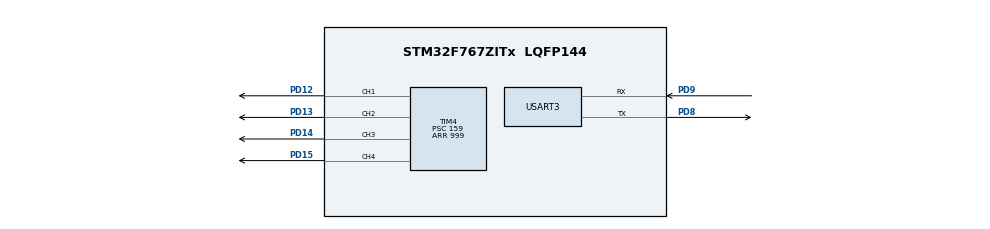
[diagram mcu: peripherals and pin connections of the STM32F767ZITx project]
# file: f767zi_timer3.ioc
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CORTEX_M7.default_mode_Activation=1
Mcu.Family=STM32F7
Mcu.Name=STM32F767ZITx
Mcu.Package=LQFP144
NVIC.PriorityGroup=NVIC_PRIORITYGROUP_4
PA13.Mode=Serial_Wire
PA13.Signal=SYS_JTMS-SWDIO
PA14.Mode=Serial_Wire
PA14.Signal=SYS_JTCK-SWCLK
PD12.Signal=S_TIM4_CH1
PD13.Signal=S_TIM4_CH2
PD14.Signal=S_TIM4_CH3
PD15.Signal=S_TIM4_CH4
PD8.Mode=Asynchronous
PD8.Signal=USART3_TX
PD9.Mode=Asynchronous
PD9.Signal=USART3_RX
PH0/OSC_IN.Mode=HSE-External-Oscillator
PH0/OSC_IN.Signal=RCC_OSC_IN
PH1/OSC_OUT.Mode=HSE-External-Oscillator
PH1/OSC_OUT.Signal=RCC_OSC_OUT
ProjectManager.HeapSize=0x200
ProjectManager.StackSize=0x400
ProjectManager.TargetToolchain=STM32CubeIDE
RCC.HSE_VALUE=25000000
RCC.HSI_VALUE=16000000
RCC.LSE_VALUE=32768
RCC.USBFreq_Value=96000000
RCC.VCOOutputFreq_Value=192000000
SH.S_TIM4_CH1.0=TIM4_CH1,PWM Generation1 CH1
SH.S_TIM4_CH2.0=TIM4_CH2,PWM Generation2 CH2
SH.S_TIM4_CH3.0=TIM4_CH3,PWM Generation3 CH3
SH.S_TIM4_CH4.0=TIM4_CH4,PWM Generation4 CH4
TIM4.Channel-PWM\ Generation1\ CH1=TIM_CHANNEL_1
TIM4.Channel-PWM\ Generation2\ CH2=TIM_CHANNEL_2
TIM4.Channel-PWM\ Generation3\ CH3=TIM_CHANNEL_3
TIM4.Channel-PWM\ Generation4\ CH4=TIM_CHANNEL_4
TIM4.Period=999
TIM4.Prescaler=159
USART3.VirtualMode-Asynchronous=VM_ASYNC
VP_TIM4_VS_ClockSourceINT.Mode=Internal
board=custom

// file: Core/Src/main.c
/* USER CODE BEGIN Header */
/**
  ******************************************************************************
  * @file           : main.c
  * @brief          : Main program body
  ******************************************************************************
  * @attention
  *
  * Copyright (c) 2025 STMicroelectronics.
  * All rights reserved.
  *
  * This software is licensed under terms that can be found in the LICENSE file
  * in the root directory of this software component.
  * If no LICENSE file comes with this software, it is provided AS-IS.
  *
  ******************************************************************************
  */
/* USER CODE END Header */
#include "main.h"

/* USER CODE BEGIN Includes */
#include <stdio.h>
#include <stdbool.h>
/* USER CODE END Includes */

TIM_HandleTypeDef htim4;

UART_HandleTypeDef huart3;

void SystemClock_Config(void);
static void MPU_Config(void);
static void MX_GPIO_Init(void);
static void MX_USART3_UART_Init(void);
static void MX_TIM4_Init(void);

/* USER CODE BEGIN 0 */

/* redirect printf to uart3
 fd == file descriptor. 1 = stdout, 2 stderr
 ptr == pointer to the data being sent
 len == length of the data (in bytes)
*/
int _write(int fd, char* ptr, int len) {
 HAL_StatusTypeDef hstatus;

 if (fd == 1 || fd == 2) {
   hstatus = HAL_UART_Transmit(&huart3, (uint8_t *) ptr, len, HAL_MAX_DELAY);
   if (hstatus == HAL_OK)
     return len;
   else
     return -1;
 }
 return -1;
}

/* USER CODE END 0 */

int main(void)
{

  /* MPU Configuration--------------------------------------------------------*/
  MPU_Config();

  /* MCU Configuration--------------------------------------------------------*/

  /* Reset of all peripherals, Initializes the Flash interface and the Systick. */
  HAL_Init();

  /* Configure the system clock */
  SystemClock_Config();

  /* Initialize all configured peripherals */
  MX_GPIO_Init();
  MX_USART3_UART_Init();
  MX_TIM4_Init();
  /* USER CODE BEGIN 2 */
  HAL_TIM_PWM_Start(&htim4, TIM_CHANNEL_1);
  HAL_TIM_PWM_Start(&htim4, TIM_CHANNEL_2);
  HAL_TIM_PWM_Start(&htim4, TIM_CHANNEL_3);
  HAL_TIM_PWM_Start(&htim4, TIM_CHANNEL_4);
  printf("Starting timer 2 code...\r\n");
  /* USER CODE END 2 */

  /* Infinite loop */
  /* USER CODE BEGIN WHILE */
  uint16_t pwm_value = 0;
  int8_t pwm_change = 1;
  uint32_t now = 0,next_tick=1000,loop_count=0,next_change=0;
  while (1)
  {
	  now = uwTick;
	  if (now >= next_tick){
		  printf("Tick %lu (loop = %lu)\r\n",now/1000,loop_count);
		  loop_count=0;
		  next_tick = now+1000;
	  }
	  ++loop_count;

	  if (now>= next_change){
		  __HAL_TIM_SET_COMPARE(&htim4,TIM_CHANNEL_1,pwm_value);
		  __HAL_TIM_SET_COMPARE(&htim4,TIM_CHANNEL_2,1000-pwm_value);
		  __HAL_TIM_SET_COMPARE(&htim4,TIM_CHANNEL_3,pwm_value);
		  __HAL_TIM_SET_COMPARE(&htim4,TIM_CHANNEL_4,1000-pwm_value);
		  pwm_value += pwm_change;
		  if (pwm_value==0) pwm_change =1;
		  if (pwm_value==1000) pwm_change =-1;
		  next_change=now+1;
	  }
  }
    /* USER CODE END WHILE */

}

void SystemClock_Config(void)
{
  RCC_OscInitTypeDef RCC_OscInitStruct = {0};
  RCC_ClkInitTypeDef RCC_ClkInitStruct = {0};

  /** Configure the main internal regulator output voltage
  */
  __HAL_RCC_PWR_CLK_ENABLE();
  __HAL_PWR_VOLTAGESCALING_CONFIG(PWR_REGULATOR_VOLTAGE_SCALE3);

  /** Initializes the RCC Oscillators according to the specified parameters
  * in the RCC_OscInitTypeDef structure.
  */
  RCC_OscInitStruct.OscillatorType = RCC_OSCILLATORTYPE_HSI;
  RCC_OscInitStruct.HSIState = RCC_HSI_ON;
  RCC_OscInitStruct.HSICalibrationValue = RCC_HSICALIBRATION_DEFAULT;
  RCC_OscInitStruct.PLL.PLLState = RCC_PLL_NONE;
  if (HAL_RCC_OscConfig(&RCC_OscInitStruct) != HAL_OK)
  {
    Error_Handler();
  }

  /** Initializes the CPU, AHB and APB buses clocks
  */
  RCC_ClkInitStruct.ClockType = RCC_CLOCKTYPE_HCLK|RCC_CLOCKTYPE_SYSCLK
                              |RCC_CLOCKTYPE_PCLK1|RCC_CLOCKTYPE_PCLK2;
  RCC_ClkInitStruct.SYSCLKSource = RCC_SYSCLKSOURCE_HSI;
  RCC_ClkInitStruct.AHBCLKDivider = RCC_SYSCLK_DIV1;
  RCC_ClkInitStruct.APB1CLKDivider = RCC_HCLK_DIV1;
  RCC_ClkInitStruct.APB2CLKDivider = RCC_HCLK_DIV1;

  if (HAL_RCC_ClockConfig(&RCC_ClkInitStruct, FLASH_LATENCY_0) != HAL_OK)
  {
    Error_Handler();
  }
}

static void MX_TIM4_Init(void)
{

  TIM_ClockConfigTypeDef sClockSourceConfig = {0};
  TIM_MasterConfigTypeDef sMasterConfig = {0};
  TIM_OC_InitTypeDef sConfigOC = {0};

  htim4.Instance = TIM4;
  htim4.Init.Prescaler = 159;
  htim4.Init.CounterMode = TIM_COUNTERMODE_UP;
  htim4.Init.Period = 999;
  htim4.Init.ClockDivision = TIM_CLOCKDIVISION_DIV1;
  htim4.Init.AutoReloadPreload = TIM_AUTORELOAD_PRELOAD_DISABLE;
  if (HAL_TIM_Base_Init(&htim4) != HAL_OK)
  {
    Error_Handler();
  }
  sClockSourceConfig.ClockSource = TIM_CLOCKSOURCE_INTERNAL;
  if (HAL_TIM_ConfigClockSource(&htim4, &sClockSourceConfig) != HAL_OK)
  {
    Error_Handler();
  }
  if (HAL_TIM_PWM_Init(&htim4) != HAL_OK)
  {
    Error_Handler();
  }
  sMasterConfig.MasterOutputTrigger = TIM_TRGO_RESET;
  sMasterConfig.MasterSlaveMode = TIM_MASTERSLAVEMODE_DISABLE;
  if (HAL_TIMEx_MasterConfigSynchronization(&htim4, &sMasterConfig) != HAL_OK)
  {
    Error_Handler();
  }
  sConfigOC.OCMode = TIM_OCMODE_PWM1;
  sConfigOC.Pulse = 0;
  sConfigOC.OCPolarity = TIM_OCPOLARITY_HIGH;
  sConfigOC.OCFastMode = TIM_OCFAST_DISABLE;
  if (HAL_TIM_PWM_ConfigChannel(&htim4, &sConfigOC, TIM_CHANNEL_1) != HAL_OK)
  {
    Error_Handler();
  }
  if (HAL_TIM_PWM_ConfigChannel(&htim4, &sConfigOC, TIM_CHANNEL_2) != HAL_OK)
  {
    Error_Handler();
  }
  if (HAL_TIM_PWM_ConfigChannel(&htim4, &sConfigOC, TIM_CHANNEL_3) != HAL_OK)
  {
    Error_Handler();
  }
  if (HAL_TIM_PWM_ConfigChannel(&htim4, &sConfigOC, TIM_CHANNEL_4) != HAL_OK)
  {
    Error_Handler();
  }
  HAL_TIM_MspPostInit(&htim4);

}

static void MX_USART3_UART_Init(void)
{

  huart3.Instance = USART3;
  huart3.Init.BaudRate = 115200;
  huart3.Init.WordLength = UART_WORDLENGTH_8B;
  huart3.Init.StopBits = UART_STOPBITS_1;
  huart3.Init.Parity = UART_PARITY_NONE;
  huart3.Init.Mode = UART_MODE_TX_RX;
  huart3.Init.HwFlowCtl = UART_HWCONTROL_NONE;
  huart3.Init.OverSampling = UART_OVERSAMPLING_16;
  huart3.Init.OneBitSampling = UART_ONE_BIT_SAMPLE_DISABLE;
  huart3.AdvancedInit.AdvFeatureInit = UART_ADVFEATURE_NO_INIT;
  if (HAL_UART_Init(&huart3) != HAL_OK)
  {
    Error_Handler();
  }

}

static void MX_GPIO_Init(void)
{

  /* GPIO Ports Clock Enable */
  __HAL_RCC_GPIOH_CLK_ENABLE();
  __HAL_RCC_GPIOD_CLK_ENABLE();
  __HAL_RCC_GPIOA_CLK_ENABLE();

}

 /* MPU Configuration */

void MPU_Config(void)
{
  MPU_Region_InitTypeDef MPU_InitStruct = {0};

  /* Disables the MPU */
  HAL_MPU_Disable();

  /** Initializes and configures the Region and the memory to be protected
  */
  MPU_InitStruct.Enable = MPU_REGION_ENABLE;
  MPU_InitStruct.Number = MPU_REGION_NUMBER0;
  MPU_InitStruct.BaseAddress = 0x0;
  MPU_InitStruct.Size = MPU_REGION_SIZE_4GB;
  MPU_InitStruct.SubRegionDisable = 0x87;
  MPU_InitStruct.TypeExtField = MPU_TEX_LEVEL0;
  MPU_InitStruct.AccessPermission = MPU_REGION_NO_ACCESS;
  MPU_InitStruct.DisableExec = MPU_INSTRUCTION_ACCESS_DISABLE;
  MPU_InitStruct.IsShareable = MPU_ACCESS_SHAREABLE;
  MPU_InitStruct.IsCacheable = MPU_ACCESS_NOT_CACHEABLE;
  MPU_InitStruct.IsBufferable = MPU_ACCESS_NOT_BUFFERABLE;

  HAL_MPU_ConfigRegion(&MPU_InitStruct);
  /* Enables the MPU */
  HAL_MPU_Enable(MPU_PRIVILEGED_DEFAULT);

}

void Error_Handler(void)
{
  __disable_irq();
  while (1)
  {
  }
}
